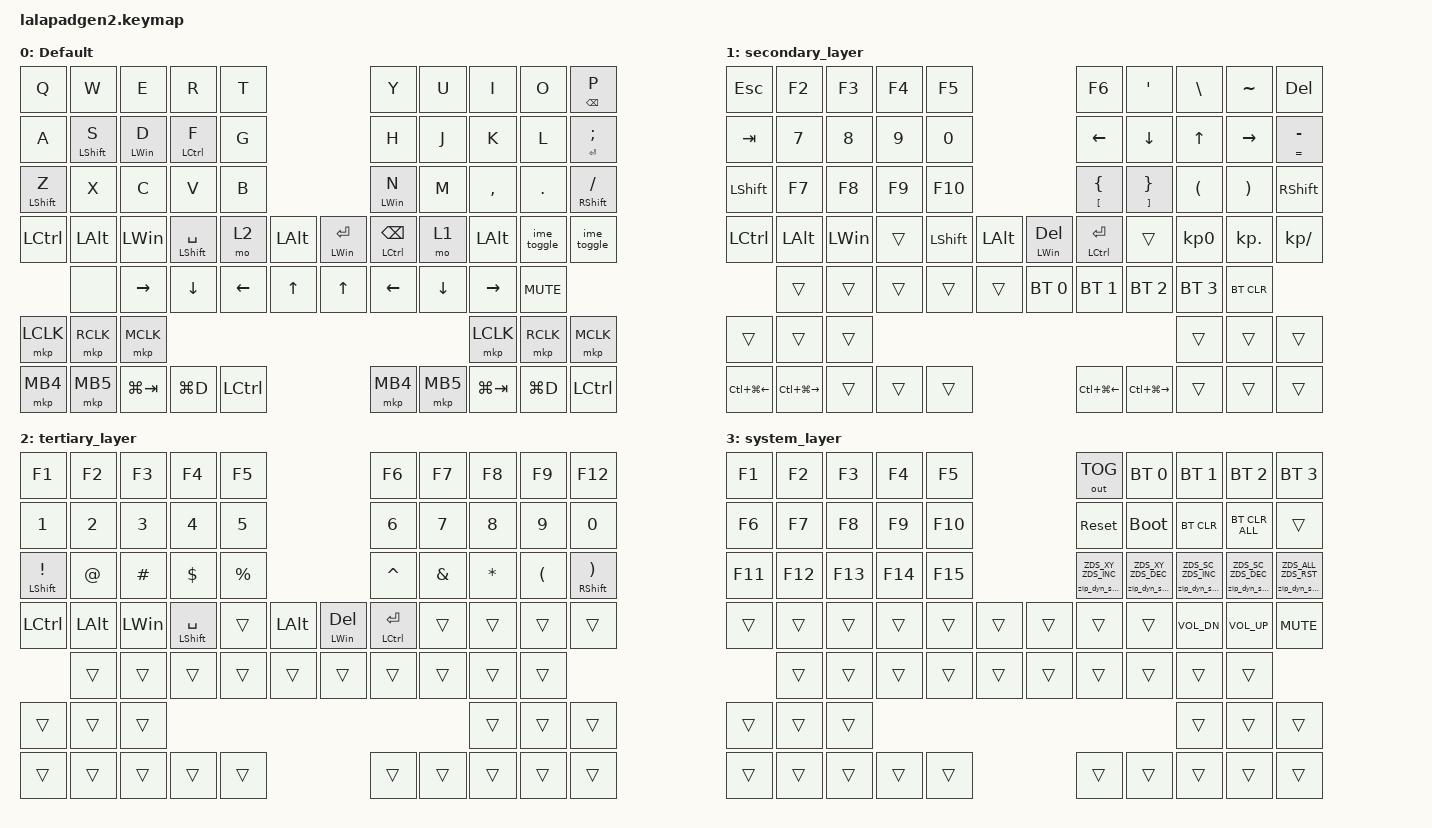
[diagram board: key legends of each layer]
#include <input/processors.dtsi>
#include <dt-bindings/zmk/zip_dynamic_scale.h>
#include <behaviors.dtsi>
#include <dt-bindings/zmk/bt.h>
#include <dt-bindings/zmk/keys.h>
#include <dt-bindings/zmk/outputs.h>
#include <dt-bindings/zmk/pointing.h>

#define DEFAULT_LAYER   0
#define SECONDARY_LAYER 1
#define TERTIARY_LAYER  2
#define SYSTEM_LAYER    3

&mt { quick-tap-ms = <200>; };

&lt { quick-tap-ms = <200>; };

/ {
    behaviors {
        zip_dyn_scale: zip_dyn_scale {
            compatible = "zmk,behavior-zip-dynamic-scale";
            #binding-cells = <2>;
        };

        zip_dyn_scale_set: zip_dyn_scale_set {
            compatible = "zmk,behavior-zip-dynamic-scale-set";
            #binding-cells = <2>;
        };

        mt2: mod_tap2 {
            compatible = "zmk,behavior-hold-tap";
            #binding-cells = <2>;
            flavor = "tap-preferred";
            tapping-term-ms = <200>;
            quick-tap-ms = <200>;
            require-prior-idle-ms = <125>;
            bindings = <&kp>, <&kp>;
        };

        mt_hp: mod_hold_preferred {
            compatible = "zmk,behavior-hold-tap";
            #binding-cells = <2>;
            flavor = "hold-preferred";
            tapping-term-ms = <200>;
            require-prior-idle-ms = <125>;
            bindings = <&kp>, <&kp>;
        };

        mt_ba: mod_hold_balanced {
            compatible = "zmk,behavior-hold-tap";
            #binding-cells = <2>;
            flavor = "balanced";
            tapping-term-ms = <200>;
            require-prior-idle-ms = <125>;
            bindings = <&kp>, <&kp>;
        };

        lt_hp: layer_tap_hold_preferred {
            compatible = "zmk,behavior-hold-tap";
            #binding-cells = <2>;
            flavor = "hold-preferred";
            tapping-term-ms = <200>;
            require-prior-idle-ms = <125>;
            bindings = <&mo>, <&kp>;
        };

        tap_dance_layer_1and2: tap_dance_layer_1and2 {
            compatible = "zmk,behavior-tap-dance";
            label = "td_mo12";
            #binding-cells = <0>;
            bindings = <&mo 1>, <&mo 2>;
        };

        ime_toggle: ime_toggle {
            compatible = "zmk,behavior-macro";
            #binding-cells = <0>;
            bindings = <&kp LC(SPACE)>;
        };
    };

    combos {
        compatible = "zmk,combos";

        CONBO_ESC {
            bindings = <&kp ESCAPE>;
            key-positions = <0 1>;
        };

        COMBO_TAB {
            bindings = <&kp TAB>;
            key-positions = <10 11>;
        };

        COMBO_BACKSPACE {
            bindings = <&kp BACKSPACE>;
            key-positions = <8 9>;
        };

        COMBO_ENTER {
            bindings = <&kp ENTER>;
            key-positions = <18 19>;
        };
    };

    keymap {
        compatible = "zmk,keymap";

        DEFAULT_LAYER {
            display-name = "Default";
            bindings = <
&kp Q              &kp W      &kp E         &kp R      &kp T                                            &kp Y      &kp U     &kp I           &kp O           &mt_ba BACKSPACE P
&kp A    &mt_ba LEFT_SHIFT S  &mt_ba LWIN D  &mt_ba LCTRL F  &kp G                              &kp H      &kp J     &kp K           &kp L           &mt2 ENTER SEMI
&mt_ba LEFT_SHIFT Z  &kp X      &kp C         &kp V      &kp B                                            &mt_ba LWIN N      &kp M     &kp COMMA       &kp PERIOD      &mt_hp RIGHT_SHIFT SLASH
&kp LCTRL          &kp LEFT_ALT   &kp LEFT_WIN  &mt2 LEFT_SHIFT SPACE &mo 2  &kp LEFT_ALT      &mt_hp LWIN ENTER &mt2 LCTRL BACKSPACE  &mo 1     &kp LEFT_ALT     &ime_toggle     &ime_toggle
                   &none      &kp RIGHT     &kp DOWN   &kp LEFT   &kp UP          &kp UP                &kp LEFT   &kp DOWN  &kp RIGHT       &kp C_MUTE
&mkp LCLK          &mkp RCLK  &mkp MCLK                                                                                       &mkp LCLK       &mkp RCLK       &mkp MCLK
&mkp MB4           &mkp MB5   &kp LG(TAB)   &kp LG(D)  &kp LCTRL                                        &mkp MB4   &mkp MB5  &kp LG(TAB)     &kp LG(D)       &kp LCTRL
            >;
        };

        SECONDARY_LAYER {
            display-name = "secondary_layer";
            bindings = <
&kp ESC      &kp F2       &kp F3  &kp F4  &kp F5                                            &kp F6     &kp SQT  &kp BACKSLASH  &kp TILDE &kp DELETE
&kp TAB      &kp N7       &kp N8  &kp N9  &kp N0                                            &kp LEFT          &kp DOWN           &kp UP           &kp RIGHT        &mt2 EQUAL MINUS
&kp LEFT_SHIFT &kp F7     &kp F8  &kp F9  &kp F10                                           &mt2 LEFT_BRACKET LEFT_BRACE   &mt2 RIGHT_BRACKET RIGHT_BRACE    &kp LEFT_PARENTHESIS  &kp RIGHT_PARENTHESIS  &kp RIGHT_SHIFT
&kp LCTRL    &kp LEFT_ALT &kp LEFT_WIN  &trans  &kp LEFT_SHIFT &kp LEFT_ALT              &mt_hp LWIN DELETE  &mt_hp LCTRL ENTER     &trans     &kp KP_NUMBER_0  &kp KP_DOT       &kp KP_DIVIDE
                  &trans             &trans        &trans        &trans   &trans  &bt BT_SEL 0   &bt BT_SEL 1     &bt BT_SEL 2    &bt BT_SEL 3           &bt BT_CLR
&trans            &trans             &trans                                                                                     &trans           &trans           &trans
&kp LC(LG(LEFT))  &kp LC(LG(RIGHT))  &trans        &trans        &trans                    &kp LC(LG(LEFT))  &kp LC(LG(RIGHT))  &trans           &trans           &trans
            >;
        };

        TERTIARY_LAYER {
            display-name = "tertiary_layer";
            bindings = <
&kp F1  &kp F2    &kp F3      &kp F4            &kp F5                                     &kp F6    &kp F7  &kp F8    &kp F9  &kp F12
&kp NUMBER_1     &kp NUMBER_2   &kp NUMBER_3  &kp NUMBER_4       &kp NUMBER_5              &kp NUMBER_6  &kp NUMBER_7  &kp NUMBER_8  &kp NUMBER_9  &kp NUMBER_0
&mt_ba LEFT_SHIFT EXCLAMATION  &kp AT_SIGN    &kp HASH      &kp DOLLAR         &kp PERCENT               &kp CARET    &kp AMPERSAND  &kp ASTERISK    &kp LEFT_PARENTHESIS  &mt2 RIGHT_SHIFT RIGHT_PARENTHESIS
&kp LCTRL        &kp LEFT_ALT   &kp LEFT_WIN  &mt2 LEFT_SHIFT SPACE &trans  &kp LEFT_ALT   &mt_hp LWIN DELETE  &mt_hp LCTRL ENTER        &trans    &trans          &trans     &trans
                 &trans         &trans        &trans                &trans                 &trans  &trans  &trans         &trans    &trans          &trans
&trans           &trans         &trans                                                                                              &trans          &trans     &trans
&trans           &trans         &trans        &trans                &trans                                 &trans         &trans    &trans          &trans     &trans
            >;
        };

        SYSTEM_LAYER {
            display-name = "system_layer";
            bindings = <
&kp F1   &kp F2   &kp F3   &kp F4   &kp F5                   &out OUT_TOG                   &bt BT_SEL 0                   &bt BT_SEL 1                   &bt BT_SEL 2                   &bt BT_SEL 3
&kp F6   &kp F7   &kp F8   &kp F9   &kp F10                  &sys_reset                     &bootloader                    &bt BT_CLR                     &bt BT_CLR_ALL                 &trans
&kp F11  &kp F12  &kp F13  &kp F14  &kp F15                  &zip_dyn_scale ZDS_XY ZDS_INC  &zip_dyn_scale ZDS_XY ZDS_DEC  &zip_dyn_scale ZDS_SC ZDS_INC  &zip_dyn_scale ZDS_SC ZDS_DEC  &zip_dyn_scale ZDS_ALL ZDS_RST
&trans   &trans   &trans   &trans   &trans   &trans  &trans  &trans                         &trans                         &kp C_VOL_DN                   &kp C_VOL_UP                   &kp C_MUTE
         &trans   &trans   &trans   &trans   &trans  &trans  &trans                         &trans                         &trans                         &trans
&trans   &trans   &trans                                                                                                   &trans                         &trans                         &trans
&trans   &trans   &trans   &trans   &trans                   &trans                         &trans                         &trans                         &trans                         &trans
            >;
        };
    };

    conditional_layers {
        compatible = "zmk,conditional-layers";

        Cond_Syslayer {
            if-layers = <1 2>;
            then-layer = <3>;
        };
    };
};
